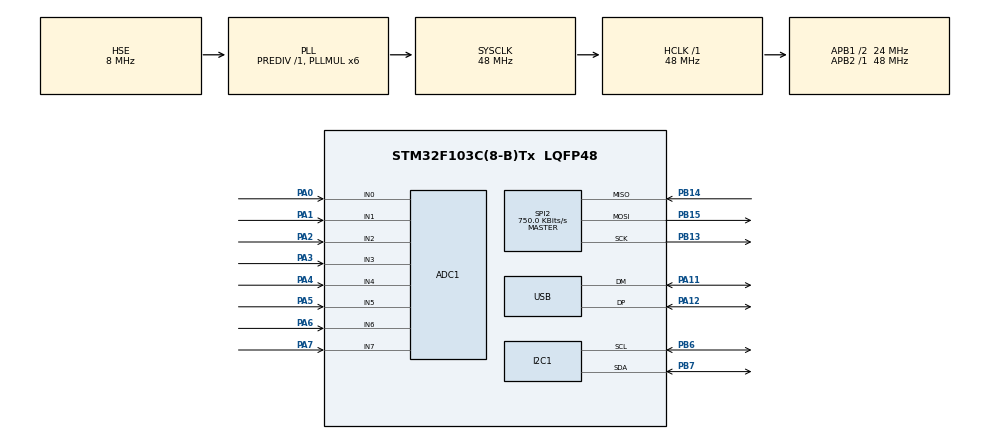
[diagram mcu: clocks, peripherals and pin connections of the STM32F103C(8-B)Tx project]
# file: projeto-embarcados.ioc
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ADC1.Channel-0\#ChannelRegularConversion=ADC_CHANNEL_0
ADC1.Channel-1\#ChannelRegularConversion=ADC_CHANNEL_1
ADC1.Channel-2\#ChannelRegularConversion=ADC_CHANNEL_2
ADC1.Channel-3\#ChannelRegularConversion=ADC_CHANNEL_3
ADC1.Channel-4\#ChannelRegularConversion=ADC_CHANNEL_4
ADC1.Channel-5\#ChannelRegularConversion=ADC_CHANNEL_5
ADC1.Channel-6\#ChannelRegularConversion=ADC_CHANNEL_6
ADC1.Channel-7\#ChannelRegularConversion=ADC_CHANNEL_7
ADC1.ContinuousConvMode=ENABLE
ADC1.NbrOfConversion=8
ADC1.NbrOfConversionFlag=1
ADC1.Rank-0\#ChannelRegularConversion=1
ADC1.Rank-1\#ChannelRegularConversion=2
ADC1.Rank-2\#ChannelRegularConversion=3
ADC1.Rank-3\#ChannelRegularConversion=4
ADC1.Rank-4\#ChannelRegularConversion=5
ADC1.Rank-5\#ChannelRegularConversion=6
ADC1.Rank-6\#ChannelRegularConversion=7
ADC1.Rank-7\#ChannelRegularConversion=8
ADC1.SamplingTime-0\#ChannelRegularConversion=ADC_SAMPLETIME_71CYCLES_5
ADC1.SamplingTime-1\#ChannelRegularConversion=ADC_SAMPLETIME_71CYCLES_5
ADC1.SamplingTime-2\#ChannelRegularConversion=ADC_SAMPLETIME_71CYCLES_5
ADC1.SamplingTime-3\#ChannelRegularConversion=ADC_SAMPLETIME_71CYCLES_5
ADC1.SamplingTime-4\#ChannelRegularConversion=ADC_SAMPLETIME_71CYCLES_5
ADC1.SamplingTime-5\#ChannelRegularConversion=ADC_SAMPLETIME_71CYCLES_5
ADC1.SamplingTime-6\#ChannelRegularConversion=ADC_SAMPLETIME_71CYCLES_5
ADC1.SamplingTime-7\#ChannelRegularConversion=ADC_SAMPLETIME_71CYCLES_5
ADC1.master=1
Dma.ADC1.0.Direction=DMA_PERIPH_TO_MEMORY
Dma.ADC1.0.Instance=DMA1_Channel1
Dma.ADC1.0.MemDataAlignment=DMA_MDATAALIGN_HALFWORD
Dma.ADC1.0.MemInc=DMA_MINC_ENABLE
Dma.ADC1.0.Mode=DMA_CIRCULAR
Dma.ADC1.0.PeriphDataAlignment=DMA_PDATAALIGN_HALFWORD
Dma.ADC1.0.PeriphInc=DMA_PINC_DISABLE
Dma.ADC1.0.Priority=DMA_PRIORITY_HIGH
Dma.MEMTOMEM.1.Direction=DMA_MEMORY_TO_MEMORY
Dma.MEMTOMEM.1.Instance=DMA1_Channel2
Dma.MEMTOMEM.1.MemDataAlignment=DMA_MDATAALIGN_BYTE
Dma.MEMTOMEM.1.MemInc=DMA_MINC_ENABLE
Dma.MEMTOMEM.1.Mode=DMA_NORMAL
Dma.MEMTOMEM.1.PeriphDataAlignment=DMA_PDATAALIGN_BYTE
Dma.MEMTOMEM.1.PeriphInc=DMA_PINC_ENABLE
Dma.MEMTOMEM.1.Priority=DMA_PRIORITY_LOW
Dma.Request0=ADC1
Dma.Request1=MEMTOMEM
I2C1.I2C_Mode=I2C_Fast
I2C1.NoStretchMode=I2C_NOSTRETCH_ENABLE
Mcu.Family=STM32F1
Mcu.Name=STM32F103C(8-B)Tx
Mcu.Package=LQFP48
NVIC.DMA1_Channel1_IRQn=true\:0\:0\:false\:false\:true\:false\:true\:true
NVIC.PriorityGroup=NVIC_PRIORITYGROUP_4
NVIC.RTC_Alarm_IRQn=true\:0\:0\:false\:false\:true\:true\:true\:true
NVIC.SPI2_IRQn=true\:0\:0\:false\:false\:true\:true\:true\:true
NVIC.USB_LP_CAN1_RX0_IRQn=true\:0\:0\:false\:false\:true\:false\:true\:true
PA0-WKUP.Signal=ADCx_IN0
PA1.Signal=ADCx_IN1
PA11.Mode=Device
PA11.Signal=USB_DM
PA12.Mode=Device
PA12.Signal=USB_DP
PA13.Mode=Serial_Wire
PA13.Signal=SYS_JTMS-SWDIO
PA14.Mode=Serial_Wire
PA14.Signal=SYS_JTCK-SWCLK
PA2.Signal=ADCx_IN2
PA3.Signal=ADCx_IN3
PA4.Signal=ADCx_IN4
PA5.Signal=ADCx_IN5
PA6.Signal=ADCx_IN6
PA7.Signal=ADCx_IN7
PB13.Mode=Full_Duplex_Master
PB13.Signal=SPI2_SCK
PB14.Mode=Full_Duplex_Master
PB14.Signal=SPI2_MISO
PB15.Mode=Full_Duplex_Master
PB15.Signal=SPI2_MOSI
PB6.Mode=I2C
PB6.Signal=I2C1_SCL
PB7.Mode=I2C
PB7.Signal=I2C1_SDA
PC14-OSC32_IN.Mode=LSE-External-Oscillator
PC14-OSC32_IN.Signal=RCC_OSC32_IN
PC15-OSC32_OUT.Mode=LSE-External-Oscillator
PC15-OSC32_OUT.Signal=RCC_OSC32_OUT
PD0-OSC_IN.Mode=HSE-External-Oscillator
PD0-OSC_IN.Signal=RCC_OSC_IN
PD1-OSC_OUT.Mode=HSE-External-Oscillator
PD1-OSC_OUT.Signal=RCC_OSC_OUT
ProjectManager.HeapSize=0x200
ProjectManager.StackSize=0x400
ProjectManager.TargetToolchain=STM32CubeIDE
RCC.ADCPresc=RCC_ADCPCLK2_DIV4
RCC.AHBFreq_Value=48000000
RCC.APB1CLKDivider=RCC_HCLK_DIV2
RCC.APB1Freq_Value=24000000
RCC.APB1TimFreq_Value=48000000
RCC.APB2Freq_Value=48000000
RCC.APB2TimFreq_Value=48000000
RCC.HCLKFreq_Value=48000000
RCC.PLLMUL=RCC_PLL_MUL6
RCC.SYSCLKFreq_VALUE=48000000
RCC.SYSCLKSource=RCC_SYSCLKSOURCE_PLLCLK
RCC.USBFreq_Value=48000000
SH.ADCx_IN0.0=ADC1_IN0,IN0
SH.ADCx_IN1.0=ADC1_IN1,IN1
SH.ADCx_IN2.0=ADC2_IN2
SH.ADCx_IN2.1=ADC1_IN2,IN2
SH.ADCx_IN3.0=ADC1_IN3,IN3
SH.ADCx_IN4.0=ADC1_IN4,IN4
SH.ADCx_IN5.0=ADC1_IN5,IN5
SH.ADCx_IN6.0=ADC1_IN6,IN6
SH.ADCx_IN7.0=ADC1_IN7,IN7
SPI2.BaudRatePrescaler=SPI_BAUDRATEPRESCALER_32
SPI2.CalculateBaudRate=750.0 KBits/s
SPI2.Direction=SPI_DIRECTION_2LINES
SPI2.Mode=SPI_MODE_MASTER
SPI2.VirtualType=VM_MASTER
USB_DEVICE.CLASS_NAME_FS=CDC
USB_DEVICE.VirtualMode=Cdc
USB_DEVICE.VirtualModeFS=Cdc_FS
VP_FATFS_VS_Generic.Mode=User_defined
VP_RTC_VS_RTC_Activate.Mode=RTC_Enabled
VP_RTC_VS_RTC_Calendar.Mode=RTC_Calendar
VP_USB_DEVICE_VS_USB_DEVICE_CDC_FS.Mode=CDC_FS
board=custom

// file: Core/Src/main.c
/* USER CODE BEGIN Header */
/**
  ******************************************************************************
  * @file           : main.c
  * @brief          : Main program body
  ******************************************************************************
  * @attention
  *
  * Copyright (c) 2025 STMicroelectronics.
  * All rights reserved.
  *
  * This software is licensed under terms that can be found in the LICENSE file
  * in the root directory of this software component.
  * If no LICENSE file comes with this software, it is provided AS-IS.
  *
  ******************************************************************************
  */
/* USER CODE END Header */
#include "main.h"
#include "fatfs.h"
#include "usb_device.h"

/* USER CODE BEGIN Includes */
#include "adc_sensor.h"
#include "filter.h"
#include "rtc_utils.h"
#include "sd_logger.h"
#include "usb_comm.h"
#include <stdio.h>
#include <string.h>
/* USER CODE END Includes */

ADC_HandleTypeDef hadc1;
DMA_HandleTypeDef hdma_adc1;

I2C_HandleTypeDef hi2c1;

RTC_HandleTypeDef hrtc;

SPI_HandleTypeDef hspi2;

DMA_HandleTypeDef hdma_memtomem_dma1_channel2;

void SystemClock_Config(void);
static void MX_GPIO_Init(void);
static void MX_DMA_Init(void);
static void MX_ADC1_Init(void);
static void MX_I2C1_Init(void);
static void MX_SPI2_Init(void);
static void MX_RTC_Init(void);

/* USER CODE BEGIN 0 */
char logBuffer[256];
char timestamp[32];
uint32_t lastLogTime = 0;
const uint32_t LOG_INTERVAL_MS = 1000;

void HAL_ADC_ConvCpltCallback(ADC_HandleTypeDef* hadc)
{
  if (hadc->Instance == ADC1)
  {
    ADC_Sensor_HandleDMA_Complete();
}
/* USER CODE END 0 */

int main(void)
{

  /* MCU Configuration--------------------------------------------------------*/

  /* Reset of all peripherals, Initializes the Flash interface and the Systick. */
  HAL_Init();

  /* Configure the system clock */
  SystemClock_Config();

  /* Initialize all configured peripherals */
  MX_GPIO_Init();
  MX_DMA_Init();
  MX_ADC1_Init();
  MX_I2C1_Init();
  MX_SPI2_Init();
  MX_RTC_Init();
  MX_FATFS_Init();
  MX_USB_DEVICE_Init();
  /* USER CODE BEGIN 2 */
  ADC_Sensor_Init(&hadc1);
	SD_Logger_Init(&hspi2);
	USB_Init(&hpcd_USB_FS);
	ADC_Sensor_StartConversion();
  /* USER CODE END 2 */

  /* Infinite loop */
  /* USER CODE BEGIN WHILE */
	 while (1) // Loop infinito: o código dentro deste bloco será executado repetidamente
	  {
    /* USER CODE END WHILE */

    /* USER CODE BEGIN 3 */
		 // Marcadores de código gerados automaticamente para áreas de usuário
		 uint32_t now = HAL_GetTick(); // Obtém o tempo atual em milissegundos desde o boot do microcontrolador

		    // Verifica se o intervalo de tempo para log de dados foi atingido
		    if (now - lastLogTime >= LOG_INTERVAL_MS) {
		        lastLogTime = now; // Atualiza a variável 'lastLogTime' com o tempo atual para a próxima checagem

		        RTC_TimeTypeDef time; // Estrutura para armazenar a hora do RTC
		        RTC_DateTypeDef date; // Estrutura para armazenar a data do RTC
		        RTC_GetDateTime(&hrtc, &time, &date); // Obtém a hora e a data atuais do módulo RTC
		        RTC_FormatDateTime(&time, &date, timestamp, sizeof(timestamp)); // Formata a hora e a data em uma string

		        // Formata os dados do sensor e o carimbo de tempo em uma única string para o log
		        snprintf(logBuffer, sizeof(logBuffer),
		                 "%s;T1=%.2fV;C1=%.2fA;TEMP1=%.2fC;MASSA1=%.2fkg;T2=%.2fV;C2=%.2fA;TEMP2=%.2fC;MASSA2=%.2fkg\r\n",
		                 timestamp,
		                 ADC_Sensor_GetTensao1(),
		                 ADC_Sensor_GetCorrente1(),
		                 ADC_Sensor_GetTemperatura1(),
		                 ADC_Sensor_GetMassa1(),
		                 ADC_Sensor_GetTensao2(),
		                 ADC_Sensor_GetCorrente2(),
		                 ADC_Sensor_GetTemperatura2(),
		                 ADC_Sensor_GetMassa2());

		        SD_Status_t sd_write_status; // Variável para armazenar o status da escrita no SD

		        // Verifica a flag global 'g_sd_card_full' ANTES de tentar escrever.
		        // Se o cartão já foi marcado como cheio/com problema, evitamos a chamada da função de escrita.
		        if (!g_sd_card_full) {
		            sd_write_status = SD_Logger_WriteData(logBuffer); // Tenta escrever a string de log no cartão SD
		        }
		  }
	  }
  /* USER CODE END 3 */
}

void SystemClock_Config(void)
{
  RCC_OscInitTypeDef RCC_OscInitStruct = {0};
  RCC_ClkInitTypeDef RCC_ClkInitStruct = {0};
  RCC_PeriphCLKInitTypeDef PeriphClkInit = {0};

  /** Initializes the RCC Oscillators according to the specified parameters
  * in the RCC_OscInitTypeDef structure.
  */
  RCC_OscInitStruct.OscillatorType = RCC_OSCILLATORTYPE_LSI|RCC_OSCILLATORTYPE_HSE;
  RCC_OscInitStruct.HSEState = RCC_HSE_ON;
  RCC_OscInitStruct.HSEPredivValue = RCC_HSE_PREDIV_DIV1;
  RCC_OscInitStruct.HSIState = RCC_HSI_ON;
  RCC_OscInitStruct.LSIState = RCC_LSI_ON;
  RCC_OscInitStruct.PLL.PLLState = RCC_PLL_ON;
  RCC_OscInitStruct.PLL.PLLSource = RCC_PLLSOURCE_HSE;
  RCC_OscInitStruct.PLL.PLLMUL = RCC_PLL_MUL6;
  if (HAL_RCC_OscConfig(&RCC_OscInitStruct) != HAL_OK)
  {
    Error_Handler();
  }

  /** Initializes the CPU, AHB and APB buses clocks
  */
  RCC_ClkInitStruct.ClockType = RCC_CLOCKTYPE_HCLK|RCC_CLOCKTYPE_SYSCLK
                              |RCC_CLOCKTYPE_PCLK1|RCC_CLOCKTYPE_PCLK2;
  RCC_ClkInitStruct.SYSCLKSource = RCC_SYSCLKSOURCE_PLLCLK;
  RCC_ClkInitStruct.AHBCLKDivider = RCC_SYSCLK_DIV1;
  RCC_ClkInitStruct.APB1CLKDivider = RCC_HCLK_DIV2;
  RCC_ClkInitStruct.APB2CLKDivider = RCC_HCLK_DIV1;

  if (HAL_RCC_ClockConfig(&RCC_ClkInitStruct, FLASH_LATENCY_1) != HAL_OK)
  {
    Error_Handler();
  }
  PeriphClkInit.PeriphClockSelection = RCC_PERIPHCLK_RTC|RCC_PERIPHCLK_ADC
                              |RCC_PERIPHCLK_USB;
  PeriphClkInit.RTCClockSelection = RCC_RTCCLKSOURCE_LSI;
  PeriphClkInit.AdcClockSelection = RCC_ADCPCLK2_DIV4;
  PeriphClkInit.UsbClockSelection = RCC_USBCLKSOURCE_PLL;
  if (HAL_RCCEx_PeriphCLKConfig(&PeriphClkInit) != HAL_OK)
  {
    Error_Handler();
  }
}

static void MX_ADC1_Init(void)
{

  ADC_ChannelConfTypeDef sConfig = {0};

  /** Common config
  */
  hadc1.Instance = ADC1;
  hadc1.Init.ScanConvMode = ADC_SCAN_ENABLE;
  hadc1.Init.ContinuousConvMode = ENABLE;
  hadc1.Init.DiscontinuousConvMode = DISABLE;
  hadc1.Init.ExternalTrigConv = ADC_SOFTWARE_START;
  hadc1.Init.DataAlign = ADC_DATAALIGN_RIGHT;
  hadc1.Init.NbrOfConversion = 8;
  if (HAL_ADC_Init(&hadc1) != HAL_OK)
  {
    Error_Handler();
  }

  /** Configure Regular Channel
  */
  sConfig.Channel = ADC_CHANNEL_0;
  sConfig.Rank = ADC_REGULAR_RANK_1;
  sConfig.SamplingTime = ADC_SAMPLETIME_71CYCLES_5;
  if (HAL_ADC_ConfigChannel(&hadc1, &sConfig) != HAL_OK)
  {
    Error_Handler();
  }

  /** Configure Regular Channel
  */
  sConfig.Channel = ADC_CHANNEL_1;
  sConfig.Rank = ADC_REGULAR_RANK_2;
  if (HAL_ADC_ConfigChannel(&hadc1, &sConfig) != HAL_OK)
  {
    Error_Handler();
  }

  /** Configure Regular Channel
  */
  sConfig.Channel = ADC_CHANNEL_2;
  sConfig.Rank = ADC_REGULAR_RANK_3;
  if (HAL_ADC_ConfigChannel(&hadc1, &sConfig) != HAL_OK)
  {
    Error_Handler();
  }

  /** Configure Regular Channel
  */
  sConfig.Channel = ADC_CHANNEL_3;
  sConfig.Rank = ADC_REGULAR_RANK_4;
  if (HAL_ADC_ConfigChannel(&hadc1, &sConfig) != HAL_OK)
  {
    Error_Handler();
  }

  /** Configure Regular Channel
  */
  sConfig.Channel = ADC_CHANNEL_4;
  sConfig.Rank = ADC_REGULAR_RANK_5;
  if (HAL_ADC_ConfigChannel(&hadc1, &sConfig) != HAL_OK)
  {
    Error_Handler();
  }

  /** Configure Regular Channel
  */
  sConfig.Channel = ADC_CHANNEL_5;
  sConfig.Rank = ADC_REGULAR_RANK_6;
  if (HAL_ADC_ConfigChannel(&hadc1, &sConfig) != HAL_OK)
  {
    Error_Handler();
  }

  /** Configure Regular Channel
  */
  sConfig.Channel = ADC_CHANNEL_6;
  sConfig.Rank = ADC_REGULAR_RANK_7;
  if (HAL_ADC_ConfigChannel(&hadc1, &sConfig) != HAL_OK)
  {
    Error_Handler();
  }

  /** Configure Regular Channel
  */
  sConfig.Channel = ADC_CHANNEL_7;
  sConfig.Rank = ADC_REGULAR_RANK_8;
  if (HAL_ADC_ConfigChannel(&hadc1, &sConfig) != HAL_OK)
  {
    Error_Handler();
  }

}

static void MX_I2C1_Init(void)
{

  hi2c1.Instance = I2C1;
  hi2c1.Init.ClockSpeed = 400000;
  hi2c1.Init.DutyCycle = I2C_DUTYCYCLE_2;
  hi2c1.Init.OwnAddress1 = 0;
  hi2c1.Init.AddressingMode = I2C_ADDRESSINGMODE_7BIT;
  hi2c1.Init.DualAddressMode = I2C_DUALADDRESS_DISABLE;
  hi2c1.Init.OwnAddress2 = 0;
  hi2c1.Init.GeneralCallMode = I2C_GENERALCALL_DISABLE;
  hi2c1.Init.NoStretchMode = I2C_NOSTRETCH_ENABLE;
  if (HAL_I2C_Init(&hi2c1) != HAL_OK)
  {
    Error_Handler();
  }

}

static void MX_RTC_Init(void)
{

  RTC_TimeTypeDef sTime = {0};
  RTC_DateTypeDef DateToUpdate = {0};

  /** Initialize RTC Only
  */
  hrtc.Instance = RTC;
  hrtc.Init.AsynchPrediv = RTC_AUTO_1_SECOND;
  hrtc.Init.OutPut = RTC_OUTPUTSOURCE_ALARM;
  if (HAL_RTC_Init(&hrtc) != HAL_OK)
  {
    Error_Handler();
  }

  /** Initialize RTC and set the Time and Date
  */
  sTime.Hours = 0x0;
  sTime.Minutes = 0x0;
  sTime.Seconds = 0x0;

  if (HAL_RTC_SetTime(&hrtc, &sTime, RTC_FORMAT_BCD) != HAL_OK)
  {
    Error_Handler();
  }
  DateToUpdate.WeekDay = RTC_WEEKDAY_MONDAY;
  DateToUpdate.Month = RTC_MONTH_JANUARY;
  DateToUpdate.Date = 0x1;
  DateToUpdate.Year = 0x0;

  if (HAL_RTC_SetDate(&hrtc, &DateToUpdate, RTC_FORMAT_BCD) != HAL_OK)
  {
    Error_Handler();
  }

}

static void MX_SPI2_Init(void)
{

  /* SPI2 parameter configuration*/
  hspi2.Instance = SPI2;
  hspi2.Init.Mode = SPI_MODE_MASTER;
  hspi2.Init.Direction = SPI_DIRECTION_2LINES;
  hspi2.Init.DataSize = SPI_DATASIZE_8BIT;
  hspi2.Init.CLKPolarity = SPI_POLARITY_LOW;
  hspi2.Init.CLKPhase = SPI_PHASE_1EDGE;
  hspi2.Init.NSS = SPI_NSS_SOFT;
  hspi2.Init.BaudRatePrescaler = SPI_BAUDRATEPRESCALER_32;
  hspi2.Init.FirstBit = SPI_FIRSTBIT_MSB;
  hspi2.Init.TIMode = SPI_TIMODE_DISABLE;
  hspi2.Init.CRCCalculation = SPI_CRCCALCULATION_DISABLE;
  hspi2.Init.CRCPolynomial = 10;
  if (HAL_SPI_Init(&hspi2) != HAL_OK)
  {
    Error_Handler();
  }

}

static void MX_DMA_Init(void)
{

  /* DMA controller clock enable */
  __HAL_RCC_DMA1_CLK_ENABLE();

  /* Configure DMA request hdma_memtomem_dma1_channel2 on DMA1_Channel2 */
  hdma_memtomem_dma1_channel2.Instance = DMA1_Channel2;
  hdma_memtomem_dma1_channel2.Init.Direction = DMA_MEMORY_TO_MEMORY;
  hdma_memtomem_dma1_channel2.Init.PeriphInc = DMA_PINC_ENABLE;
  hdma_memtomem_dma1_channel2.Init.MemInc = DMA_MINC_ENABLE;
  hdma_memtomem_dma1_channel2.Init.PeriphDataAlignment = DMA_PDATAALIGN_BYTE;
  hdma_memtomem_dma1_channel2.Init.MemDataAlignment = DMA_MDATAALIGN_BYTE;
  hdma_memtomem_dma1_channel2.Init.Mode = DMA_NORMAL;
  hdma_memtomem_dma1_channel2.Init.Priority = DMA_PRIORITY_LOW;
  if (HAL_DMA_Init(&hdma_memtomem_dma1_channel2) != HAL_OK)
  {
    Error_Handler( );
  }

  /* DMA interrupt init */
  /* DMA1_Channel1_IRQn interrupt configuration */
  HAL_NVIC_SetPriority(DMA1_Channel1_IRQn, 0, 0);
  HAL_NVIC_EnableIRQ(DMA1_Channel1_IRQn);

}

static void MX_GPIO_Init(void)
{
  GPIO_InitTypeDef GPIO_InitStruct = {0};

  /* GPIO Ports Clock Enable */
  __HAL_RCC_GPIOC_CLK_ENABLE();
  __HAL_RCC_GPIOD_CLK_ENABLE();
  __HAL_RCC_GPIOA_CLK_ENABLE();
  __HAL_RCC_GPIOB_CLK_ENABLE();

  /*Configure GPIO pin : PA2 */
  GPIO_InitStruct.Pin = GPIO_PIN_2;
  GPIO_InitStruct.Mode = GPIO_MODE_ANALOG;
  HAL_GPIO_Init(GPIOA, &GPIO_InitStruct);

}

void Error_Handler(void)
{
  __disable_irq();
  while (1)
  {
  }
}
